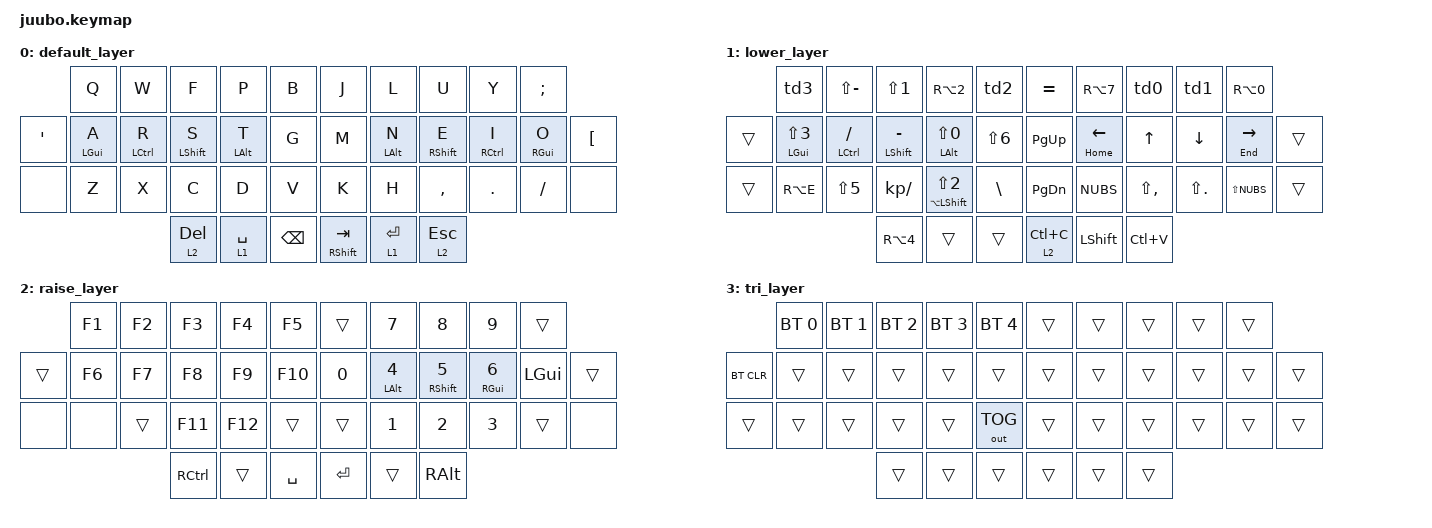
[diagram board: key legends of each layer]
#include <behaviors.dtsi>
#include <dt-bindings/zmk/keys.h>
#include <dt-bindings/zmk/bt.h>
#include <dt-bindings/zmk/outputs.h>

&mt {
     quick-tap-ms = <0>;
     flavor = "tap-preferred";
};

&lt {
     quick-tap-ms = <10>;
};

/ {

 behaviors {
        td0: brac_open {
            compatible = "zmk,behavior-tap-dance";
            #binding-cells = <0>;
            tapping-term-ms = <200>;
            bindings = <&kp LS(N8)>, <&kp RA(N8)>;
        };
        td1: brac_close {
            compatible = "zmk,behavior-tap-dance";
            #binding-cells = <0>;
            tapping-term-ms = <200>;
            bindings = <&kp LS(N9)>, <&kp RA(N9)>;
        };
        td2: pipe {
            compatible = "zmk,behavior-tap-dance";
            #binding-cells = <0>;
            tapping-term-ms = <200>;
            bindings = <&kp RA(NUBS)>, <&kp RA(MINUS)>;
        };
        td3: tilde {
            compatible = "zmk,behavior-tap-dance";
            #binding-cells = <0>;
            tapping-term-ms = <200>;
            bindings = <&kp RA(RBKT)>, <&kp LS(RBKT)>;
        };
    };

    combos {
        compatible = "zmk,combos";
        combo_enter {
            timeout-ms = <50>;
            key-positions = <0 36>;
            bindings = <&kp RET>;
            layers = <0>;
        };
    };

   conditional_layers {
        compatible = "zmk,conditional-layers";
        tri_layer {
            if-layers = <1 2>;
            then-layer = <3>;
        };
    };


        keymap {
                compatible = "zmk,keymap";

                 default_layer {
// -----------------------------------------------------------------------------------------
//        |  Q  |  W  |  F  |  P  |  B  |                                                      |  J  |  L   |  U  |  Y  |  Ö  |
// |   Ä  |  A  |  R  |  S  |  T  |  G  |                                                      |  M  |  N   |  E  |  I  |  O  | Å  |
// |      |  Z  |  X  |  C  |  D  |  V  |                                                      |  K  |  H   |  ,  |  .  |  -  |    |
//          | RSE/DEL | SPC  | LWR/BSPC |                                                      | TAB | RSE/RET | LWR/ESC |
                        bindings = <
               &kp Q        &kp W        &kp F           &kp P         &kp B                   &kp J            &kp L        &kp U         &kp Y        &kp SEMI      
   &kp SQT     &mt LGUI A   &mt LCTRL R  &mt LSHIFT S    &mt LALT T    &kp G                   &kp M            &mt LALT N   &mt RSHIFT E  &mt RCTRL I  &mt RGUI O     &kp LBKT 
   &none       &kp Z        &kp X        &kp C           &kp D         &kp V                   &kp K            &kp H        &kp COMMA     &kp DOT      &kp SLASH      &none
                                         &lt 2 DEL       &lt 1 SPACE   &kp BSPC                &mt RSHIFT TAB   &lt 1 RET    &lt 2 ESC
                        >; 
                };
                
                lower_layer {
// -----------------------------------------------------------------------------------------
//    | ~^| ? | ! | @ | "|"\ |                                                                                  |  ´  |   { |  (  |  )   |  } |
// |  | # | - | + | = |  &   |                                                                                  |PG_UP| LFT | UP  | DWN | RGT |  |
// |  | € | % | / | " |  '   |                                                                                  |PG_DN|  <  |  ;  |  :  | >   |  |
//            | $ |   |      |                                                                                  | CPY | ENT |  PST |
                        bindings = <   
          &td3               &kp LS(MINUS)     &kp LS(N1)          &kp RA(N2)             &td2                   &kp EQUAL    &kp RA(N7)       &td0             &td1          &kp RA(N0)
&trans    &mt LGUI LS(N3)    &mt LCTRL SLASH   &mt LSHIFT MINUS    &mt LALT LS(N0)        &kp LS(N6)             &kp PG_UP    &mt HOME LEFT    &kp UP           &kp DOWN      &mt END RIGHT   &trans
&trans    &kp RA(E)          &kp LS(N5)        &kp KP_SLASH        &mt LA(LSHIFT) LS(N2)  &kp BSLH               &kp PG_DN    &kp NUBS         &kp LS(COMMA)    &kp LS(DOT)   &kp LS(NUBS)    &trans
                                               &kp RA(N4)          &trans                 &trans                 &lt 2 LC(C)  &kp LSHIFT       &kp LC(V)
                        >;
                };

                raise_layer {
// -----------------------------------------------------------------------------------------
//    |  F1  | F2  |   F3  | F4   |  F5 |    |     |  7  |  8  |  9  |      |
// |  |  F6  | F7  |   F8  | F9   | F10 |    |  0  |  4  |  5  |  6  | GUI  |      |
// |  |      |     |   F11 | F12  |     |    |     |  1  |  2  |  3  |      |      |
//                 | CTRL |       | SPC |    | ENT |     | ALT |
                        bindings = <
           &kp F1   &kp F2   &kp F3   &kp F4  &kp F5           &trans   &kp N7       &kp N8         &kp N9       &trans   
   &trans  &kp F6   &kp F7   &kp F8   &kp F9  &kp F10          &kp N0   &mt LALT N4  &mt RSHIFT N5  &mt RGUI N6  &kp LGUI  &trans
   &none   &none    &trans   &kp F11  &kp F12 &trans           &trans   &kp N1       &kp N2         &kp N3       &trans    &none
                            &kp RCTRL &trans  &kp SPACE        &kp RET  &trans   &kp RALT
                        >;
                };

                tri_layer {
// -----------------------------------------------------------------------------------------
//        | BT0 | BT1 | BT2 | BT3 |  BT4 |      |     |     |     |     |     |    |
// | BTCLR|     |     |     |     |      |      |     |     |     |     |     |    |
// |      |     |     |     |     |BT_TOG|      |     |     |     |     |     |    |
//                    |     |     |      |      |     |     |     |
                        bindings = <
                &bt BT_SEL 0 &bt BT_SEL 1 &bt BT_SEL 2 &bt BT_SEL 3 &bt BT_SEL 4         &trans     &trans     &trans    &trans    &trans
   &bt BT_CLR   &trans       &trans       &trans       &trans       &trans               &trans     &trans     &trans    &trans    &trans   &trans
   &trans       &trans       &trans       &trans       &trans       &out OUT_TOG         &trans     &trans     &trans    &trans    &trans   &trans
                                          &trans       &trans       &trans               &trans     &trans     &trans
                        >;
                };

  };
};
